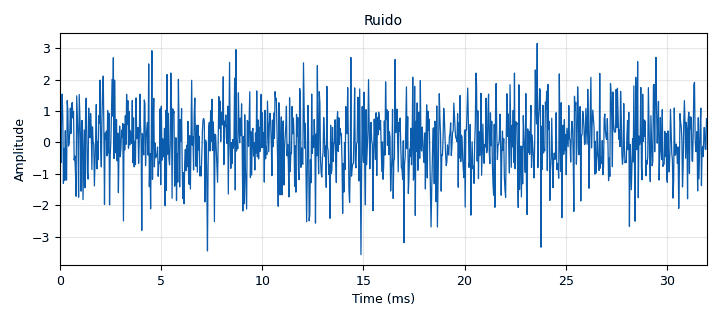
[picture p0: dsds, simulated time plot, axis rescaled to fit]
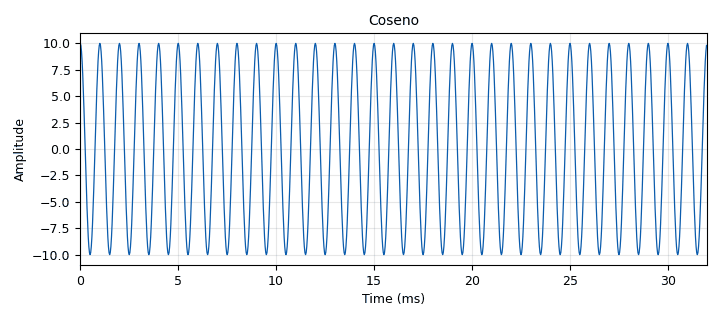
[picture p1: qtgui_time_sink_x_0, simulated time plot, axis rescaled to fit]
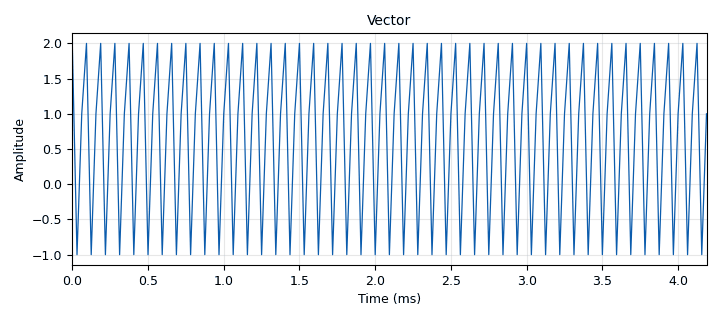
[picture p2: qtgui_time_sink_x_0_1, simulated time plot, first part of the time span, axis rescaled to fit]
options:
  parameters:
    generate_options: qt_gui
    id: GenSeniales
    output_language: python
    title: Not titled yet
  states: {}

blocks:
- name: samp_rate
  id: variable
  parameters:
    value: '32000'
  states: {}
- name: analog_noise_source_x_0
  id: analog_noise_source_x
  parameters:
    amp: '1'
    noise_type: analog.GR_GAUSSIAN
    seed: '0'
    type: float
  states: {}
- name: analog_sig_source_x_0
  id: analog_sig_source_x
  parameters:
    amp: '10'
    freq: '1000'
    offset: '0'
    phase: '0'
    samp_rate: samp_rate
    type: float
    waveform: analog.GR_COS_WAVE
  states: {}
- name: blocks_vector_source_x_0
  id: blocks_vector_source_x
  parameters:
    repeat: 'True'
    type: float
    vector: (1, 2, -1)
  states: {}
- name: dsds
  id: qtgui_time_sink_x
  parameters:
    name: Ruido
    size: '1024'
    srate: samp_rate
    type: float
  states: {}
- name: qtgui_time_sink_x_0
  id: qtgui_time_sink_x
  parameters:
    name: Coseno
    size: '1024'
    srate: samp_rate
    type: float
  states: {}
- name: qtgui_time_sink_x_0_1
  id: qtgui_time_sink_x
  parameters:
    name: Vector
    size: '1024'
    srate: samp_rate
    type: float
  states: {}

connections:
- [analog_noise_source_x_0, '0', dsds, '0']
- [analog_sig_source_x_0, '0', qtgui_time_sink_x_0, '0']
- [blocks_vector_source_x_0, '0', qtgui_time_sink_x_0_1, '0']

metadata:
  file_format: 1
  grc_version: 3.10.5.1
